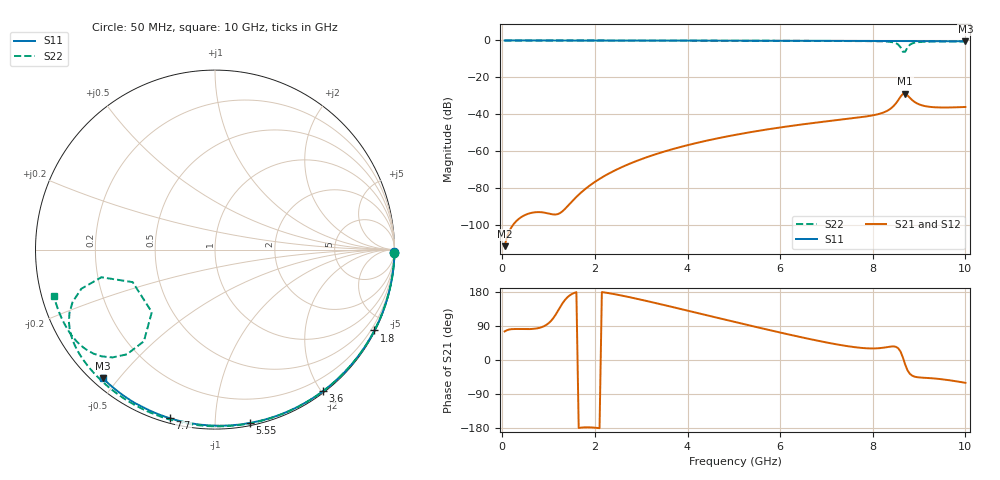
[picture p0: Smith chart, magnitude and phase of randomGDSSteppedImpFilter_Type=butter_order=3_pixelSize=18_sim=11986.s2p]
! freq	dB(S11)	phase(S11)	dB(S12)	phase(S12)
!  dB(S21)	phase(S21)	dB(S22)	phase(S22)
!S-par simulation data
#  GHz  S  DB  R 50
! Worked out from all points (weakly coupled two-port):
!   200 points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, 50 MHz to 10 GHz, reference 50 ohm
!   highest |S21| = -28.73 dB at 8.7 GHz (marker M1); lowest = -111.3 dB at 50 MHz (marker M2)
!   lowest |S11| = -0.4 dB at 10 GHz (marker M3), VSWR 39.54, Z = 1.52 - j22.6 ohm
!   |S11| at or under -10 dB: nowhere
!   |S22| runs from -6.1 to 0.0 dB; largest |S21 - S12| = 0
!   S11 on the Smith chart (normalised r, x): 50 MHz: open; 1.8 GHz: 0.04, -4.18; 3.6 GHz: 0.02, -2.02; 5.55 GHz: 0.02, -1.22; 7.7 GHz: 0.02, -0.77; 10 GHz: 0.03, -0.45
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0.05  -0.00 -0.8  -111.27 75.4  -111.27 75.4  -0.00 -1.0
0.85  -0.02 -12.8  -92.93 86.6  -92.93 86.6  -0.02 -16.6
1.75  -0.03 -26.2  -81.20 -177.9  -81.20 -177.9  -0.04 -33.7
1.8  -0.03 -26.9  -80.17 -177.6  -80.17 -177.6  -0.04 -34.7
2.5  -0.05 -37.1  -69.46 172.0  -69.46 172.0  -0.06 -47.7
3.4  -0.07 -49.8  -60.84 147.8  -60.84 147.8  -0.08 -63.8
3.6  -0.07 -52.6  -59.34 142.0  -59.34 142.0  -0.09 -67.3
5.05  -0.11 -72.1  -50.98 99.5  -50.98 99.5  -0.14 -91.9
5.55  -0.13 -78.6  -48.80 85.1  -48.80 85.1  -0.16 -100.0
6.7  -0.18 -92.9  -44.68 53.7  -44.68 53.7  -0.23 -118.4
7.7  -0.24 -104.9  -41.66 32.6  -41.66 32.6  -0.33 -135.2
8.1  -0.27 -109.6  -39.98 30.8  -39.98 30.8  -0.44 -143.6
8.35  -0.29 -112.5  -37.50 34.8  -37.50 34.8  -0.70 -151.4
8.5  -0.30 -114.2  -34.01 34.8  -34.01 34.8  -1.46 -159.8
8.6  -0.31 -115.3  -30.40 22.1  -30.40 22.1  -3.72 -166.3
8.65  -0.31 -115.9  -28.95 6.8  -28.95 6.8  -6.14 -158.5
8.7  -0.31 -116.4  -28.73 -12.0  -28.73 -12.0  -6.10 -135.3
8.75  -0.31 -117.0  -29.70 -27.1  -29.70 -27.1  -3.79 -127.8
8.85  -0.32 -118.2  -32.23 -41.2  -32.23 -41.2  -1.63 -133.6
9  -0.34 -119.9  -34.56 -46.0  -34.56 -46.0  -0.87 -141.5
9.2  -0.36 -122.2  -35.82 -47.5  -35.82 -47.5  -0.64 -147.9
10  -0.44 -131.2  -35.98 -60.3  -35.98 -60.3  -0.59 -163.8
